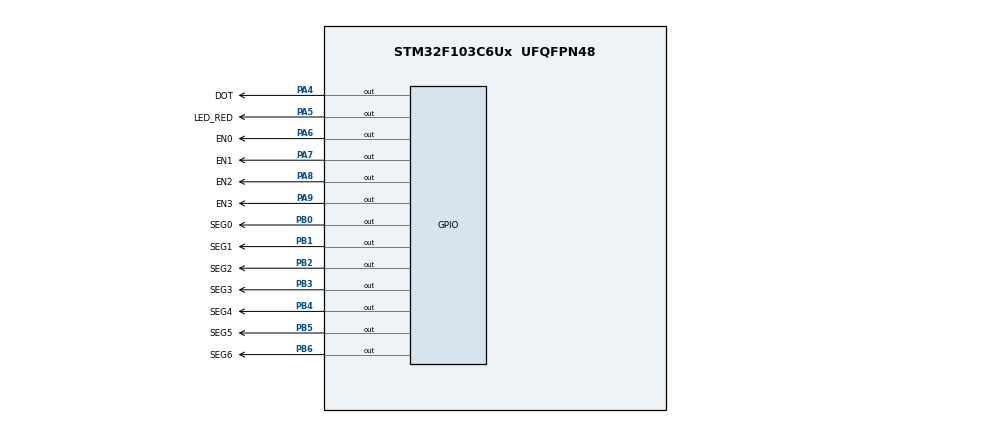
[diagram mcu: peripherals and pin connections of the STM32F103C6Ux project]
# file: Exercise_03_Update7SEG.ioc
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Mcu.Family=STM32F1
Mcu.Name=STM32F103C6Ux
Mcu.Package=UFQFPN48
NVIC.PriorityGroup=NVIC_PRIORITYGROUP_4
NVIC.TIM2_IRQn=true\:0\:0\:false\:false\:true\:true\:true\:true
PA4.GPIO_Label=DOT
PA4.Signal=GPIO_Output
PA5.GPIO_Label=LED_RED
PA5.Signal=GPIO_Output
PA6.GPIO_Label=EN0
PA6.Signal=GPIO_Output
PA7.GPIO_Label=EN1
PA7.Signal=GPIO_Output
PA8.GPIO_Label=EN2
PA8.Signal=GPIO_Output
PA9.GPIO_Label=EN3
PA9.Signal=GPIO_Output
PB0.GPIO_Label=SEG0
PB0.Signal=GPIO_Output
PB1.GPIO_Label=SEG1
PB1.Signal=GPIO_Output
PB2.GPIO_Label=SEG2
PB2.Signal=GPIO_Output
PB3.GPIO_Label=SEG3
PB3.Signal=GPIO_Output
PB4.GPIO_Label=SEG4
PB4.Signal=GPIO_Output
PB5.GPIO_Label=SEG5
PB5.Signal=GPIO_Output
PB6.GPIO_Label=SEG6
PB6.Signal=GPIO_Output
ProjectManager.HeapSize=0x200
ProjectManager.StackSize=0x400
ProjectManager.TargetToolchain=Makefile
RCC.APB1Freq_Value=8000000
RCC.APB2Freq_Value=8000000
TIM2.Period=9
TIM2.Prescaler=7999
VP_SYS_VS_ND.Mode=No_Debug
VP_TIM2_VS_ClockSourceINT.Mode=Internal
board=custom

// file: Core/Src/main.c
/* USER CODE BEGIN Header */
/**
  ******************************************************************************
  * @file           : main.c
  * @brief          : Main program body
  ******************************************************************************
  * @attention
  *
  * Copyright (c) 2026 STMicroelectronics.
  * All rights reserved.
  *
  * This software is licensed under terms that can be found in the LICENSE file
  * in the root directory of this software component.
  * If no LICENSE file comes with this software, it is provided AS-IS.
  *
  ******************************************************************************
  */
/* USER CODE END Header */
#include "main.h"

TIM_HandleTypeDef htim2;

void SystemClock_Config(void);
static void MX_GPIO_Init(void);
static void MX_TIM2_Init(void);

/* USER CODE BEGIN 0 */

/* =========================================================
   7-SEGMENT DISPLAY
   Common Anode

   SEG = 0 -> ON
   SEG = 1 -> OFF
   ========================================================= */

void display7SEG(uint8_t num)
{
    /*
     * Segment order:
     *
     * SEG0 = A
     * SEG1 = B
     * SEG2 = C
     * SEG3 = D
     * SEG4 = E
     * SEG5 = F
     * SEG6 = G
     */

    uint8_t seg[10][7] =
    {
        // A  B  C  D  E  F  G

        {0, 0, 0, 0, 0, 0, 1}, // 0
        {1, 0, 0, 1, 1, 1, 1}, // 1
        {0, 0, 1, 0, 0, 1, 0}, // 2
        {0, 0, 0, 0, 1, 1, 0}, // 3
        {1, 0, 0, 1, 1, 0, 0}, // 4
        {0, 1, 0, 0, 1, 0, 0}, // 5
        {0, 1, 0, 0, 0, 0, 0}, // 6
        {0, 0, 0, 1, 1, 1, 1}, // 7
        {0, 0, 0, 0, 0, 0, 0}, // 8
        {0, 0, 0, 0, 1, 0, 0}  // 9
    };

    HAL_GPIO_WritePin(
        SEG0_GPIO_Port,
        SEG0_Pin,
        seg[num][0]
    );

    HAL_GPIO_WritePin(
        SEG1_GPIO_Port,
        SEG1_Pin,
        seg[num][1]
    );

    HAL_GPIO_WritePin(
        SEG2_GPIO_Port,
        SEG2_Pin,
        seg[num][2]
    );

    HAL_GPIO_WritePin(
        SEG3_GPIO_Port,
        SEG3_Pin,
        seg[num][3]
    );

    HAL_GPIO_WritePin(
        SEG4_GPIO_Port,
        SEG4_Pin,
        seg[num][4]
    );

    HAL_GPIO_WritePin(
        SEG5_GPIO_Port,
        SEG5_Pin,
        seg[num][5]
    );

    HAL_GPIO_WritePin(
        SEG6_GPIO_Port,
        SEG6_Pin,
        seg[num][6]
    );
}

/* =========================================================
   7-SEGMENT ENABLE

   PNP transistor:
   LOW  = ON
   HIGH = OFF
   ========================================================= */

void EN0_ON(void)
{
    HAL_GPIO_WritePin(
        EN0_GPIO_Port,
        EN0_Pin,
        GPIO_PIN_RESET
    );
}

void EN0_OFF(void)
{
    HAL_GPIO_WritePin(
        EN0_GPIO_Port,
        EN0_Pin,
        GPIO_PIN_SET
    );
}

void EN1_ON(void)
{
    HAL_GPIO_WritePin(
        EN1_GPIO_Port,
        EN1_Pin,
        GPIO_PIN_RESET
    );
}

void EN1_OFF(void)
{
    HAL_GPIO_WritePin(
        EN1_GPIO_Port,
        EN1_Pin,
        GPIO_PIN_SET
    );
}

void EN2_ON(void)
{
    HAL_GPIO_WritePin(
        EN2_GPIO_Port,
        EN2_Pin,
        GPIO_PIN_RESET
    );
}

void EN2_OFF(void)
{
    HAL_GPIO_WritePin(
        EN2_GPIO_Port,
        EN2_Pin,
        GPIO_PIN_SET
    );
}

void EN3_ON(void)
{
    HAL_GPIO_WritePin(
        EN3_GPIO_Port,
        EN3_Pin,
        GPIO_PIN_RESET
    );
}

void EN3_OFF(void)
{
    HAL_GPIO_WritePin(
        EN3_GPIO_Port,
        EN3_Pin,
        GPIO_PIN_SET
    );
}

/* =========================================================
   TURN OFF ALL 4 DISPLAYS
   ========================================================= */

void All_Display_Off(void)
{
    EN0_OFF();
    EN1_OFF();
    EN2_OFF();
    EN3_OFF();
}

const int MAX_LED = 4;
int index_led = 0;
int led_buffer[4] = {8, 6, 4, 2};
int dot_counter = 0;

void update7SEG(int index)
{
    /*
     * Turn OFF all displays first
     */

    EN0_OFF();
    EN1_OFF();
    EN2_OFF();
    EN3_OFF();

    /*
     * Select which 7-segment to display
     */

    switch (index)
    {
        case 0:

            display7SEG(led_buffer[0]);
            EN0_ON();

            break;

        case 1:

            display7SEG(led_buffer[1]);
            EN1_ON();

            break;

        case 2:

            display7SEG(led_buffer[2]);
            EN2_ON();

            break;

        case 3:

            display7SEG(led_buffer[3]);
            EN3_ON();

            break;

        default:

            EN0_OFF();
            EN1_OFF();
            EN2_OFF();
            EN3_OFF();

            break;
    }
}

/* USER CODE END 0 */

int main(void)
{

  /* MCU Configuration--------------------------------------------------------*/

  /* Reset of all peripherals, Initializes the Flash interface and the Systick. */
  HAL_Init();

  /* Configure the system clock */
  SystemClock_Config();

  /* Initialize all configured peripherals */
  MX_GPIO_Init();
  MX_TIM2_Init();
  /* USER CODE BEGIN 2 */

  /* Turn OFF all displays initially */
  All_Display_Off();

  /* Turn OFF DOT initially */
  HAL_GPIO_WritePin(
      DOT_GPIO_Port,
      DOT_Pin,
      GPIO_PIN_SET
  );

  /* Start with digit 1 */
  display7SEG(1);

  /* Start TIM2 interrupt */
  HAL_TIM_Base_Start_IT(&htim2);

  /* USER CODE END 2 */

  /* Infinite loop */
  while (1)
  {

  }
}

void SystemClock_Config(void)
{
  RCC_OscInitTypeDef RCC_OscInitStruct = {0};
  RCC_ClkInitTypeDef RCC_ClkInitStruct = {0};

  /** Initializes the RCC Oscillators according to the specified parameters
  * in the RCC_OscInitTypeDef structure.
  */
  RCC_OscInitStruct.OscillatorType = RCC_OSCILLATORTYPE_HSI;
  RCC_OscInitStruct.HSIState = RCC_HSI_ON;
  RCC_OscInitStruct.HSICalibrationValue = RCC_HSICALIBRATION_DEFAULT;
  RCC_OscInitStruct.PLL.PLLState = RCC_PLL_NONE;
  if (HAL_RCC_OscConfig(&RCC_OscInitStruct) != HAL_OK)
  {
    Error_Handler();
  }

  /** Initializes the CPU, AHB and APB buses clocks
  */
  RCC_ClkInitStruct.ClockType = RCC_CLOCKTYPE_HCLK|RCC_CLOCKTYPE_SYSCLK
                              |RCC_CLOCKTYPE_PCLK1|RCC_CLOCKTYPE_PCLK2;
  RCC_ClkInitStruct.SYSCLKSource = RCC_SYSCLKSOURCE_HSI;
  RCC_ClkInitStruct.AHBCLKDivider = RCC_SYSCLK_DIV1;
  RCC_ClkInitStruct.APB1CLKDivider = RCC_HCLK_DIV1;
  RCC_ClkInitStruct.APB2CLKDivider = RCC_HCLK_DIV1;

  if (HAL_RCC_ClockConfig(&RCC_ClkInitStruct, FLASH_LATENCY_0) != HAL_OK)
  {
    Error_Handler();
  }
}

static void MX_TIM2_Init(void)
{

  TIM_ClockConfigTypeDef sClockSourceConfig = {0};
  TIM_MasterConfigTypeDef sMasterConfig = {0};

  htim2.Instance = TIM2;
  htim2.Init.Prescaler = 7999;
  htim2.Init.CounterMode = TIM_COUNTERMODE_UP;
  htim2.Init.Period = 9;
  htim2.Init.ClockDivision = TIM_CLOCKDIVISION_DIV1;
  htim2.Init.AutoReloadPreload = TIM_AUTORELOAD_PRELOAD_DISABLE;
  if (HAL_TIM_Base_Init(&htim2) != HAL_OK)
  {
    Error_Handler();
  }
  sClockSourceConfig.ClockSource = TIM_CLOCKSOURCE_INTERNAL;
  if (HAL_TIM_ConfigClockSource(&htim2, &sClockSourceConfig) != HAL_OK)
  {
    Error_Handler();
  }
  sMasterConfig.MasterOutputTrigger = TIM_TRGO_RESET;
  sMasterConfig.MasterSlaveMode = TIM_MASTERSLAVEMODE_DISABLE;
  if (HAL_TIMEx_MasterConfigSynchronization(&htim2, &sMasterConfig) != HAL_OK)
  {
    Error_Handler();
  }

}

static void MX_GPIO_Init(void)
{
  GPIO_InitTypeDef GPIO_InitStruct = {0};

  /* GPIO Ports Clock Enable */
  __HAL_RCC_GPIOA_CLK_ENABLE();
  __HAL_RCC_GPIOB_CLK_ENABLE();

  /*Configure GPIO pin Output Level */
  HAL_GPIO_WritePin(GPIOA, DOT_Pin|LED_RED_Pin|EN0_Pin|EN1_Pin
                          |EN2_Pin|EN3_Pin, GPIO_PIN_RESET);

  /*Configure GPIO pin Output Level */
  HAL_GPIO_WritePin(GPIOB, SEG0_Pin|SEG1_Pin|SEG2_Pin|SEG3_Pin
                          |SEG4_Pin|SEG5_Pin|SEG6_Pin, GPIO_PIN_RESET);

  /*Configure GPIO pins : DOT_Pin LED_RED_Pin EN0_Pin EN1_Pin
                           EN2_Pin EN3_Pin */
  GPIO_InitStruct.Pin = DOT_Pin|LED_RED_Pin|EN0_Pin|EN1_Pin
                          |EN2_Pin|EN3_Pin;
  GPIO_InitStruct.Mode = GPIO_MODE_OUTPUT_PP;
  GPIO_InitStruct.Pull = GPIO_NOPULL;
  GPIO_InitStruct.Speed = GPIO_SPEED_FREQ_LOW;
  HAL_GPIO_Init(GPIOA, &GPIO_InitStruct);

  /*Configure GPIO pins : SEG0_Pin SEG1_Pin SEG2_Pin SEG3_Pin
                           SEG4_Pin SEG5_Pin SEG6_Pin */
  GPIO_InitStruct.Pin = SEG0_Pin|SEG1_Pin|SEG2_Pin|SEG3_Pin
                          |SEG4_Pin|SEG5_Pin|SEG6_Pin;
  GPIO_InitStruct.Mode = GPIO_MODE_OUTPUT_PP;
  GPIO_InitStruct.Pull = GPIO_NOPULL;
  GPIO_InitStruct.Speed = GPIO_SPEED_FREQ_LOW;
  HAL_GPIO_Init(GPIOB, &GPIO_InitStruct);

}

/* USER CODE BEGIN 4 */

void HAL_TIM_PeriodElapsedCallback(TIM_HandleTypeDef *htim)
{
    if (htim->Instance == TIM2)
    {
        /*
         * Update 7-segment display
         */

        update7SEG(index_led);

        /*
         * Move to next 7-segment
         */

        index_led++;

        if (index_led >= MAX_LED)
        {
            index_led = 0;
        }

        /*
         * DOT blinking every 1 second
         */

        dot_counter++;

        if (dot_counter >= 100)
        {
            dot_counter = 0;

            HAL_GPIO_TogglePin(
                DOT_GPIO_Port,
                DOT_Pin
            );
        }
    }
}

/* USER CODE END 4 */

void Error_Handler(void)
{
  __disable_irq();
  while (1)
  {
  }
}
